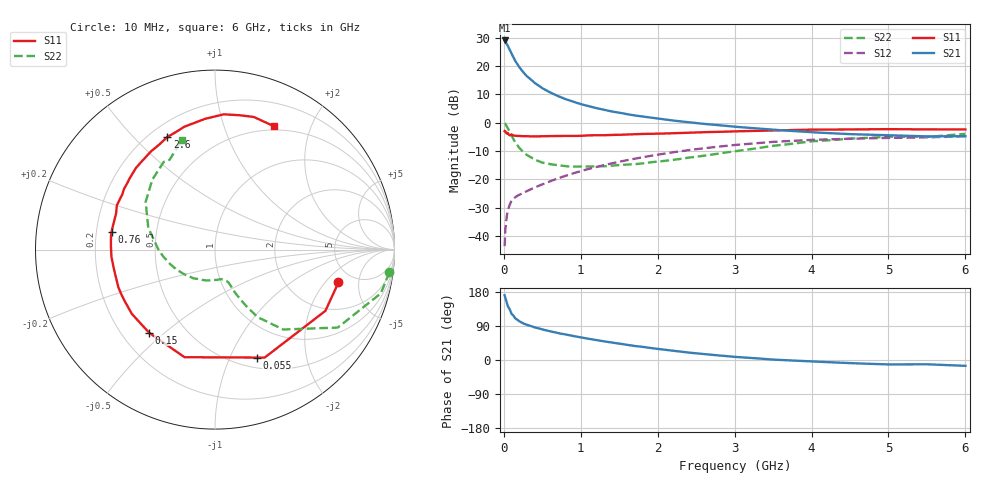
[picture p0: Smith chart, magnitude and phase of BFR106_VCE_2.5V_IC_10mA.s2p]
! Infineon Technologies  Discrete & RF Semiconductors
! BFR106
! VCE =  2.5 V,  IC =  10 mA
! Common Emitter S-Parameters:  Nov 2015
# GHz  S  MA  R  50
!  f  S11  S21  S12  S22
! GHz  MAG  ANG  MAG  ANG  MAG  ANG  MAG  ANG
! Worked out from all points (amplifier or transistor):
!   210 points, 10 MHz to 6 GHz, reference 50 ohm
!   highest |S21| = 29.1 dB at 10 MHz (marker M1)
!   |S21| within 3 dB of that: start of sweep to 70.61 MHz
!   unconditionally stable (mu >= 1): 479.3 MHz to 2.256 GHz; 4.887 GHz to end of sweep
!   at 185 MHz: K = 0.57, MSG = 23.0 dB, |S12| = -25.7 dB
!   at 1.52 GHz: K = 1.09, MAG = 6.8 dB, |S12| = -13.7 dB
!   at 6 GHz: K = 1.02, MAG = -0.8 dB, |S12| = -4.8 dB
!   S11 on the Smith chart (normalised r, x): 10 MHz: 3.77, -2.79; 55 MHz: 0.61, -1.26; 150 MHz: 0.31, -0.44; 760 MHz: 0.26, +0.08; 2.6 GHz: 0.27, +0.63; 6 GHz: 0.46, +1.49
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0.01  0.7117 -14.9  28.39 170.8  0.0066 84.8  0.9801 -7.4
0.02  0.7035 -29.0  27.57 163.2  0.0131 75.9  0.9555 -14.8
0.05  0.6622 -65.3  23.08 142.7  0.0282 61.7  0.8103 -32.4
0.055  0.6446 -68.9  22.33 141.2  0.0295 59.9  0.7854 -33.7
0.1  0.6231 -105.8  16.57 121.9  0.0423 48.9  0.5856 -49.5
0.15  0.5909 -128.5  12.2 109.6  0.0486 44.7  0.4449 -57.7
0.2  0.5855 -142.2  9.628 102.3  0.0534 44.8  0.3609 -61.0
0.26  0.5786 -153.5  7.592 95.8  0.0584 45.8  0.2955 -63.7
0.3  0.578 -158.6  6.614 92.6  0.0621 47.7  0.269 -64.9
0.4  0.5735 -169.0  5.058 86.1  0.0715 50.6  0.2228 -66.3
0.5  0.5784 -176.0  4.072 80.6  0.0816 53.9  0.1976 -67.8
0.54  0.5784 -178.5  3.814 78.8  0.0858 54.7  0.1927 -68.6
0.6  0.5805 177.7  3.436 75.7  0.0921 55.8  0.1854 -69.9
0.76  0.5842 170.3  2.758 68.9  0.1106 58.1  0.1734 -74.9
1.02  0.5891 159.0  2.098 58.9  0.1421 59.5  0.1686 -84.1
1.4  0.6097 146.2  1.585 46.3  0.191 58.7  0.1753 -101.3
2.02  0.6409 128.3  1.172 28.8  0.2756 52.8  0.207 -133.4
2.6  0.6817 112.9  0.954 15.6  0.3539 44.8  0.2611 -161.4
3.1  0.709 102.0  0.83 7.0  0.4146 36.6  0.3253 176.4
4.1  0.7556 85.0  0.668 -4.7  0.5024 19.8  0.4775 142.5
5.1  0.7679 72.6  0.593 -11.6  0.5415 5.8  0.5647 119.6
6  0.7618 64.3  0.578 -15.4  0.5773 -4.4  0.6368 107.0
